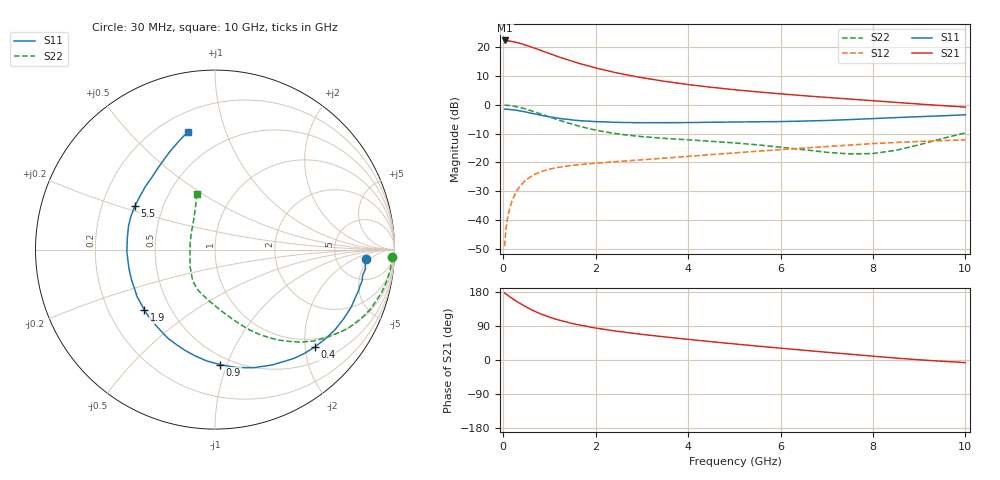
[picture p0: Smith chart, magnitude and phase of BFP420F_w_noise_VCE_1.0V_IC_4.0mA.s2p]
! Infineon Technologies  Discrete & RF Semiconductors
! BFP420F
! VCE =  1.0 V,  IC =  4.0 mA
! Common Emitter S-Parameters:  Sep 2011
# GHz  S  MA  R  50
!  f  S11  S21  S12  S22
! GHz  MAG  ANG  MAG  ANG  MAG  ANG  MAG  ANG
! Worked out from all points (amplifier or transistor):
!   54 points, 30 MHz to 10 GHz, reference 50 ohm
!   highest |S21| = 22.4 dB at 40 MHz (marker M1)
!   |S21| within 3 dB of that: start of sweep to 735.9 MHz
!   unconditionally stable (mu >= 1): 2.664 GHz to end of sweep
!   at 120 MHz: K = 0.06, MSG = 29.8 dB, |S12| = -37.3 dB
!   at 1.3 GHz: K = 0.50, MSG = 18.8 dB, |S12| = -21.4 dB
!   at 10 GHz: K = 1.39, MAG = 2.0 dB, |S12| = -12.1 dB
!   lowest NFmin = 0.90 dB at 450 MHz
!   S11 on the Smith chart (normalised r, x): 30 MHz: 11, -4; 400 MHz: 0.80, -2.20; 900 MHz: 0.44, -0.95; 1.9 GHz: 0.36, -0.33; 5.5 GHz: 0.34, +0.23; 10 GHz: 0.31, +0.75
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0.03  0.8447 -3.5  13.16 176.8  0.0035 89.1  0.9878 -2.3
0.04  0.8441 -4.7  13.19 175.8  0.0045 88.2  0.9873 -3.0
0.1  0.8383 -11.7  13.1 170.5  0.0114 84.3  0.9807 -7.3
0.11  0.8361 -12.8  12.93 169.8  0.0125 83.1  0.9786 -8.0
0.15  0.8285 -17.5  12.83 166.0  0.0168 81.3  0.9712 -10.9
0.25  0.8133 -28.6  12.33 157.8  0.0273 75.8  0.942 -17.7
0.4  0.7765 -44.4  11.48 146.5  0.0417 68.0  0.8854 -27.2
0.5  0.7486 -54.1  10.84 139.8  0.0498 63.3  0.8403 -32.9
0.6  0.7182 -63.4  10.16 133.3  0.0568 59.0  0.7921 -38.2
0.7  0.6923 -72.0  9.568 127.6  0.063 55.5  0.7474 -43.0
0.9  0.6413 -87.4  8.323 117.6  0.0724 49.5  0.657 -51.1
1.2  0.5849 -107.0  6.83 105.5  0.0822 43.2  0.5457 -61.2
1.5  0.5463 -122.7  5.718 96.1  0.0889 39.3  0.4606 -69.1
1.7  0.5288 -131.4  5.11 91.3  0.0923 37.6  0.4152 -73.9
1.9  0.5184 -139.4  4.634 86.4  0.0955 36.5  0.38 -78.3
2.6  0.4947 -159.7  3.415 73.8  0.1052 34.4  0.3039 -92.0
3.5  0.491 -178.4  2.564 60.9  0.1188 33.8  0.2613 -105.3
4.5  0.4993 164.9  2.024 48.3  0.1368 32.9  0.2328 -117.2
5.5  0.5081 151.5  1.684 36.7  0.1564 31.0  0.2022 -129.2
7  0.536 130.6  1.348 20.4  0.1885 26.5  0.1498 -158.6
8.5  0.6017 114.6  1.105 5.0  0.2223 19.2  0.1625 144.0
10  0.6725 103.1  0.915 -6.9  0.2472 11.9  0.3266 108.1
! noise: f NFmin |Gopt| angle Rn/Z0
0.45  0.9  0.29  15  0.18
0.9  0.93  0.3  37  0.18
1.9  1.14  0.23  96  0.14
2.4  1.24  0.24  105  0.15
3.5  1.56  0.28  144  0.16
